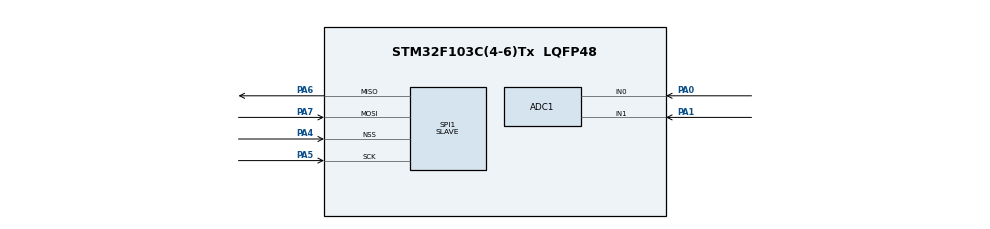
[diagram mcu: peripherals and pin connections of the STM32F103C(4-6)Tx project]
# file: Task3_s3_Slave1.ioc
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ADC1.Channel-0\#ChannelRegularConversion=ADC_CHANNEL_0
ADC1.Channel-1\#ChannelRegularConversion=ADC_CHANNEL_1
ADC1.DiscontinuousConvMode=ENABLE
ADC1.NbrOfConversion=2
ADC1.NbrOfConversionFlag=1
ADC1.Rank-0\#ChannelRegularConversion=1
ADC1.Rank-1\#ChannelRegularConversion=2
ADC1.SamplingTime-0\#ChannelRegularConversion=ADC_SAMPLETIME_41CYCLES_5
ADC1.SamplingTime-1\#ChannelRegularConversion=ADC_SAMPLETIME_41CYCLES_5
ADC1.master=1
Mcu.Family=STM32F1
Mcu.Name=STM32F103C(4-6)Tx
Mcu.Package=LQFP48
NVIC.PriorityGroup=NVIC_PRIORITYGROUP_4
PA0-WKUP.Signal=ADCx_IN0
PA1.Signal=ADCx_IN1
PA4.Mode=NSS_Signal_Hard_Input
PA4.Signal=SPI1_NSS
PA5.Mode=Full_Duplex_Slave
PA5.Signal=SPI1_SCK
PA6.Mode=Full_Duplex_Slave
PA6.Signal=SPI1_MISO
PA7.Mode=Full_Duplex_Slave
PA7.Signal=SPI1_MOSI
ProjectManager.HeapSize=0x200
ProjectManager.StackSize=0x400
ProjectManager.TargetToolchain=STM32CubeIDE
RCC.APB1Freq_Value=8000000
RCC.APB2Freq_Value=8000000
SH.ADCx_IN0.0=ADC1_IN0,IN0
SH.ADCx_IN1.0=ADC1_IN1,IN1
SPI1.Direction=SPI_DIRECTION_2LINES
SPI1.Mode=SPI_MODE_SLAVE
SPI1.VirtualNSS=VM_NSSHARD
SPI1.VirtualType=VM_SLAVE
VP_SYS_VS_ND.Mode=No_Debug
board=custom

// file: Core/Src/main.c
/* USER CODE BEGIN Header */
/**
  ******************************************************************************
  * @file           : main.c
  * @brief          : Main program body
  ******************************************************************************
  * @attention
  *
  * Copyright (c) 2025 STMicroelectronics.
  * All rights reserved.
  *
  * This software is licensed under terms that can be found in the LICENSE file
  * in the root directory of this software component.
  * If no LICENSE file comes with this software, it is provided AS-IS.
  *
  ******************************************************************************
  */
/* USER CODE END Header */
#include "main.h"

ADC_HandleTypeDef hadc1;

SPI_HandleTypeDef hspi1;

void SystemClock_Config(void);
static void MX_GPIO_Init(void);
static void MX_SPI1_Init(void);
static void MX_ADC1_Init(void);

int main(void)
{

  /* MCU Configuration--------------------------------------------------------*/

  /* Reset of all peripherals, Initializes the Flash interface and the Systick. */
  HAL_Init();

  /* Configure the system clock */
  SystemClock_Config();

  /* Initialize all configured peripherals */
  MX_GPIO_Init();
  MX_SPI1_Init();
  MX_ADC1_Init();
  /* USER CODE BEGIN 2 */
  uint64_t txData = 0;
  uint64_t rxData = 0;
  uint16_t engine_temp=0;
  uint16_t throttle_Pos=0;
  /* USER CODE END 2 */

  /* Infinite loop */
  while (1)
  {

    /* USER CODE BEGIN 3 */
		HAL_ADC_Start(&hadc1);
		HAL_ADC_PollForConversion(&hadc1, 100);
		throttle_Pos = HAL_ADC_GetValue(&hadc1);

		HAL_ADC_Start(&hadc1);
		HAL_ADC_PollForConversion(&hadc1, 100);
		engine_temp = HAL_ADC_GetValue(&hadc1);

		HAL_ADC_Stop(&hadc1);

		throttle_Pos = (uint8_t) (throttle_Pos * (150.0 / 4095.0));
		engine_temp = (uint8_t) (engine_temp * (100.0 / 4095.0));

		txData = rxData|((uint64_t)(throttle_Pos & 0x00ff) << 40) | ((uint64_t)(engine_temp & 0x0fff) << 48);

		HAL_SPI_TransmitReceive(&hspi1, (uint8_t*) &txData, (uint8_t*) &rxData,sizeof(rxData), HAL_MAX_DELAY);

  }
  /* USER CODE END 3 */
}

void SystemClock_Config(void)
{
  RCC_OscInitTypeDef RCC_OscInitStruct = {0};
  RCC_ClkInitTypeDef RCC_ClkInitStruct = {0};
  RCC_PeriphCLKInitTypeDef PeriphClkInit = {0};

  /** Initializes the RCC Oscillators according to the specified parameters
  * in the RCC_OscInitTypeDef structure.
  */
  RCC_OscInitStruct.OscillatorType = RCC_OSCILLATORTYPE_HSI;
  RCC_OscInitStruct.HSIState = RCC_HSI_ON;
  RCC_OscInitStruct.HSICalibrationValue = RCC_HSICALIBRATION_DEFAULT;
  RCC_OscInitStruct.PLL.PLLState = RCC_PLL_NONE;
  if (HAL_RCC_OscConfig(&RCC_OscInitStruct) != HAL_OK)
  {
    Error_Handler();
  }

  /** Initializes the CPU, AHB and APB buses clocks
  */
  RCC_ClkInitStruct.ClockType = RCC_CLOCKTYPE_HCLK|RCC_CLOCKTYPE_SYSCLK
                              |RCC_CLOCKTYPE_PCLK1|RCC_CLOCKTYPE_PCLK2;
  RCC_ClkInitStruct.SYSCLKSource = RCC_SYSCLKSOURCE_HSI;
  RCC_ClkInitStruct.AHBCLKDivider = RCC_SYSCLK_DIV1;
  RCC_ClkInitStruct.APB1CLKDivider = RCC_HCLK_DIV1;
  RCC_ClkInitStruct.APB2CLKDivider = RCC_HCLK_DIV1;

  if (HAL_RCC_ClockConfig(&RCC_ClkInitStruct, FLASH_LATENCY_0) != HAL_OK)
  {
    Error_Handler();
  }
  PeriphClkInit.PeriphClockSelection = RCC_PERIPHCLK_ADC;
  PeriphClkInit.AdcClockSelection = RCC_ADCPCLK2_DIV2;
  if (HAL_RCCEx_PeriphCLKConfig(&PeriphClkInit) != HAL_OK)
  {
    Error_Handler();
  }
}

static void MX_ADC1_Init(void)
{

  ADC_ChannelConfTypeDef sConfig = {0};

  /** Common config
  */
  hadc1.Instance = ADC1;
  hadc1.Init.ScanConvMode = ADC_SCAN_ENABLE;
  hadc1.Init.ContinuousConvMode = DISABLE;
  hadc1.Init.DiscontinuousConvMode = ENABLE;
  hadc1.Init.NbrOfDiscConversion = 1;
  hadc1.Init.ExternalTrigConv = ADC_SOFTWARE_START;
  hadc1.Init.DataAlign = ADC_DATAALIGN_RIGHT;
  hadc1.Init.NbrOfConversion = 2;
  if (HAL_ADC_Init(&hadc1) != HAL_OK)
  {
    Error_Handler();
  }

  /** Configure Regular Channel
  */
  sConfig.Channel = ADC_CHANNEL_0;
  sConfig.Rank = ADC_REGULAR_RANK_1;
  sConfig.SamplingTime = ADC_SAMPLETIME_41CYCLES_5;
  if (HAL_ADC_ConfigChannel(&hadc1, &sConfig) != HAL_OK)
  {
    Error_Handler();
  }

  /** Configure Regular Channel
  */
  sConfig.Channel = ADC_CHANNEL_1;
  sConfig.Rank = ADC_REGULAR_RANK_2;
  if (HAL_ADC_ConfigChannel(&hadc1, &sConfig) != HAL_OK)
  {
    Error_Handler();
  }

}

static void MX_SPI1_Init(void)
{

  /* SPI1 parameter configuration*/
  hspi1.Instance = SPI1;
  hspi1.Init.Mode = SPI_MODE_SLAVE;
  hspi1.Init.Direction = SPI_DIRECTION_2LINES;
  hspi1.Init.DataSize = SPI_DATASIZE_8BIT;
  hspi1.Init.CLKPolarity = SPI_POLARITY_LOW;
  hspi1.Init.CLKPhase = SPI_PHASE_1EDGE;
  hspi1.Init.NSS = SPI_NSS_HARD_INPUT;
  hspi1.Init.FirstBit = SPI_FIRSTBIT_MSB;
  hspi1.Init.TIMode = SPI_TIMODE_DISABLE;
  hspi1.Init.CRCCalculation = SPI_CRCCALCULATION_DISABLE;
  hspi1.Init.CRCPolynomial = 10;
  if (HAL_SPI_Init(&hspi1) != HAL_OK)
  {
    Error_Handler();
  }

}

static void MX_GPIO_Init(void)
{

  /* GPIO Ports Clock Enable */
  __HAL_RCC_GPIOA_CLK_ENABLE();

}

void Error_Handler(void)
{
  __disable_irq();
  while (1)
  {
  }
}
